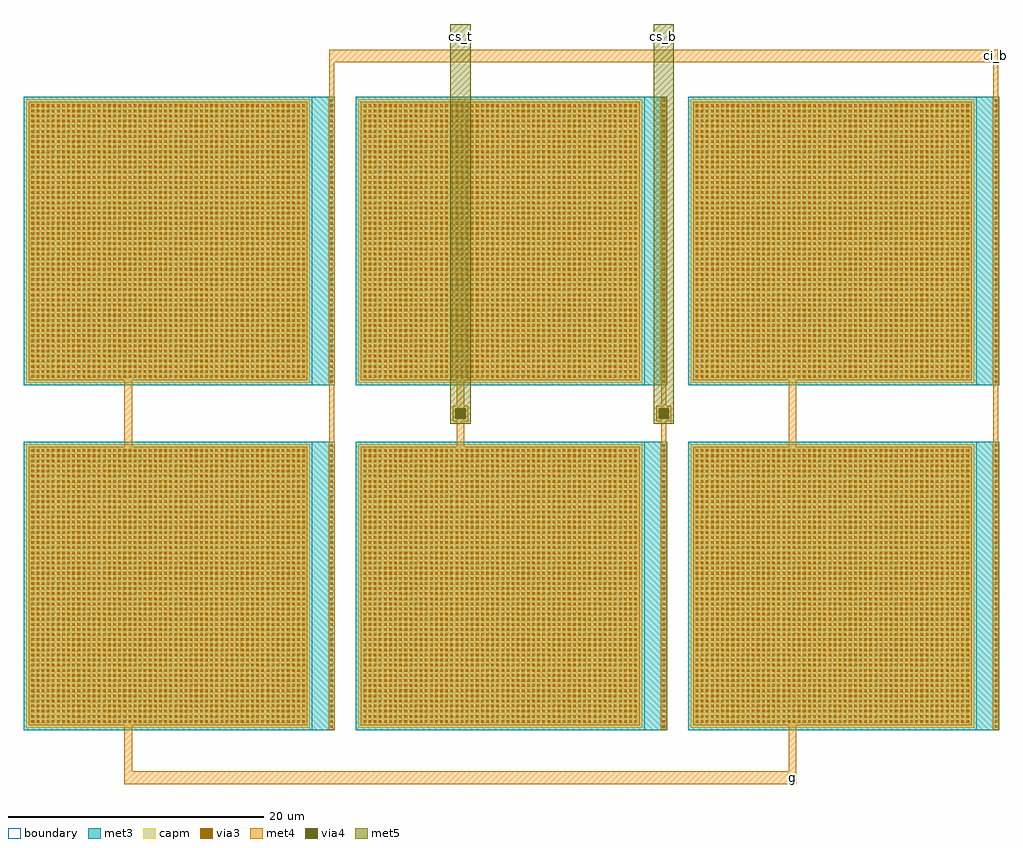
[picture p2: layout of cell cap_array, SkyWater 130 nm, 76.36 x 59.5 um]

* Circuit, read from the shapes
.subckt cap_array ci_b cs_b cs_t g
XC1 g ci_b sky130_fd_pr__cap_mim_m3_1 w=22.2 l=22.2 m=4
XC2 cs_t cs_b sky130_fd_pr__cap_mim_m3_1 w=22.2 l=22.2 m=2
.ends

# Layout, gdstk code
import gdstk
lib = gdstk.Library(unit=1e-6, precision=1e-09)
def R(c, l, rs):  # rectangles x0, y0, x1, y1
    for r in rs: c.add(gdstk.rectangle(r[:2], r[2:], *l))
def A(c, l, x, y, w, h, nx, ny, dx, dy):  # array of equal rectangles
    R(c, l, [(x+i*dx, y+j*dy, x+i*dx+w, y+j*dy+h) for i in range(nx) for j in range(ny)])
met3 = (70, 20)
via3 = (70, 44)
met4 = (71, 20)
via4 = (71, 44)
met5 = (72, 20)
capm = (89, 44)
boundary = (235, 4)

sky130_fd_pr__cap_mim_m3 = lib.new_cell('sky130_fd_pr__cap_mim_m3_1_JS2Y8Z')
R(sky130_fd_pr__cap_mim_m3, met3, [(-12.18,-11.3,12.18,11.3)])
A(sky130_fd_pr__cap_mim_m3, via3, 11.82, -11.1, 0.2, 0.2, 1, 56, 0, 0.4)
A(sky130_fd_pr__cap_mim_m3, via3, -11.58, -10.7, 0.2, 0.2, 54, 54, 0.4, 0.4)
R(sky130_fd_pr__cap_mim_m3, met4, [(11.68,-11.24,12.16,11.24), (-11.785,-10.905,10.025,10.905)])
R(sky130_fd_pr__cap_mim_m3, capm, [(-11.98,-11.1,10.22,11.1)])
R(sky130_fd_pr__cap_mim_m3, boundary, [(-12.18,-11.3,10.42,11.3)])
sky130_fd_pr__cap_mim_m3.add(gdstk.Label('C2', (11.92,0), layer=71, texttype=5))
sky130_fd_pr__cap_mim_m3.add(gdstk.Label('C1', (-0.88,0), layer=71, texttype=5))

cap_array = lib.new_cell('cap_array')
R(cap_array, met4, [(-4.3,-15.5,48.3,-14.5), (-4.3,-14.5,-3.7,37), (47.7,-14.5,48.3,37), (21.7,-10,22.3,12.9), (11.72,11.24,12.12,15.76), (37.72,11.24,38.12,12.9), (63.72,11.24,64.12,15.76), (21.4,12.9,22.6,14.1), (37.32,12.9,38.52,14.1), (21.7,14.1,22.3,37), (37.72,14.1,38.12,15.76), (11.72,38.24,12.12,41), (63.72,38.24,64.12,41), (11.72,41,64.12,42)])
R(cap_array, via4, [(21.6,13.1,22.4,13.9), (37.52,13.1,38.32,13.9)])
R(cap_array, met5, [(21.2,12.7,22.8,44), (37.12,12.7,38.72,44)])
cap_array.add(gdstk.Reference(sky130_fd_pr__cap_mim_m3, (0,0)))
cap_array.add(gdstk.Reference(sky130_fd_pr__cap_mim_m3, (0,27)))
cap_array.add(gdstk.Reference(sky130_fd_pr__cap_mim_m3, (26,0)))
cap_array.add(gdstk.Reference(sky130_fd_pr__cap_mim_m3, (26,27)))
cap_array.add(gdstk.Reference(sky130_fd_pr__cap_mim_m3, (52,0)))
cap_array.add(gdstk.Reference(sky130_fd_pr__cap_mim_m3, (52,27)))
cap_array.add(gdstk.Label('g', (48,-15), layer=71, texttype=5))
cap_array.add(gdstk.Label('ci_b', (63.92,41.5), layer=71, texttype=5))
cap_array.add(gdstk.Label('cs_b', (37.92,43), layer=72, texttype=5))
cap_array.add(gdstk.Label('cs_t', (22,43), layer=72, texttype=5))

lib.write_gds('cap_array.gds')
